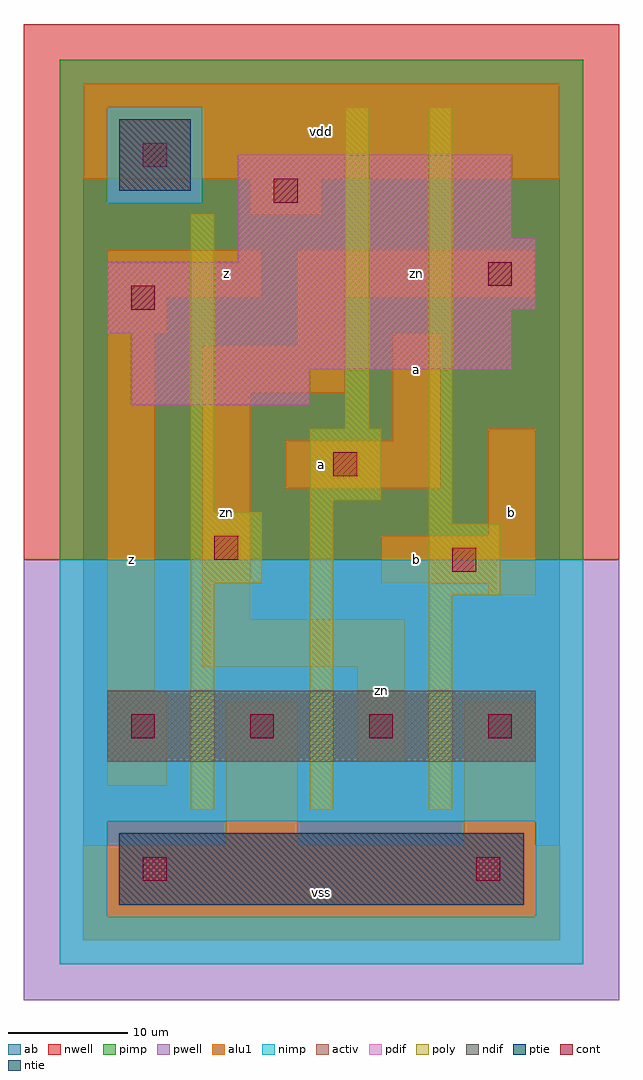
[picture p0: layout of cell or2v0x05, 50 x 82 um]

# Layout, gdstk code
import gdstk
lib = gdstk.Library(unit=1e-6, precision=1e-09)
def R(c, l, rs):  # rectangles x0, y0, x1, y1
    for r in rs: c.add(gdstk.rectangle(r[:2], r[2:], *l))
def A(c, l, x, y, w, h, nx, ny, dx, dy):  # array of equal rectangles
    R(c, l, [(x+i*dx, y+j*dy, x+i*dx+w, y+j*dy+h) for i in range(nx) for j in range(ny)])
ndif = (3, 0)
pdif = (4, 0)
ntie = (5, 0)
ptie = (6, 0)
cont = (25, 0)
pwell = (41, 0)
nwell = (42, 0)
activ = (43, 0)
pimp = (44, 0)
nimp = (45, 0)
poly = (46, 0)
alu1 = (49, 0)
ab = (63, 0)

or2v0x05 = lib.new_cell('or2v0x05')
R(or2v0x05, ndif, [(2,15,38,21)])
R(or2v0x05, pdif, [(4,45,19,48), (4,48,36,51), (2,51,36,53), (2,53,38,57), (13,57,38,59), (13,59,36,66)])
R(or2v0x05, ntie, [(3,63,9,69)])
R(or2v0x05, ptie, [(3,3,37,9)])
A(or2v0x05, cont, 4, 17, 2, 2, 4, 1, 10, 0)
R(or2v0x05, cont, [(5,5,7,7), (33,5,35,7), (31,31,33,33), (11,32,13,34), (21,39,23,41), (4,53,6,55), (34,55,36,57), (16,62,18,64), (5,65,7,67)])
R(or2v0x05, pwell, [(-5,-5,45,32)])
R(or2v0x05, nwell, [(-5,32,45,77)])
R(or2v0x05, activ, [(3,3,37,9), (2,15,38,21), (4,45,19,48), (4,48,36,51), (2,51,36,53), (2,53,38,57), (13,57,38,59), (13,59,36,66), (3,63,9,69)])
R(or2v0x05, pimp, [(2,2,38,10), (-2,32,42,62), (-2,62,2,70), (10,62,42,70), (-2,70,42,74)])
R(or2v0x05, nimp, [(-2,-2,42,2), (-2,2,2,10), (38,2,42,10), (-2,10,42,32), (2,62,10,70)])
R(or2v0x05, poly, [(9,11,11,30), (19,11,21,37), (29,11,31,29), (29,29,35,35), (9,30,15,36), (29,35,31,70), (9,36,11,61), (19,37,25,43), (22,43,24,70)])
R(or2v0x05, alu1, [(0,0,40,8), (12,8,18,20), (32,8,38,20), (2,13,7,21), (23,15,27,23), (2,21,6,51), (10,23,27,27), (10,27,14,46), (34,29,38,30), (25,30,38,34), (34,34,38,43), (17,38,30,42), (26,42,30,51), (10,46,22,50), (18,50,22,54), (2,51,7,54), (2,54,15,58), (18,54,38,58), (14,61,20,64), (0,64,40,72)])
R(or2v0x05, ab, [(0,0,40,72)])
or2v0x05.add(gdstk.Label('zn', (12,36), layer=49, texttype=0))
or2v0x05.add(gdstk.Label('zn', (25,21), layer=49, texttype=0))
or2v0x05.add(gdstk.Label('zn', (28,56), layer=49, texttype=0))
or2v0x05.add(gdstk.Label('z', (4,32), layer=49, texttype=0))
or2v0x05.add(gdstk.Label('z', (12,56), layer=49, texttype=0))
or2v0x05.add(gdstk.Label('vss', (20,4), layer=49, texttype=0))
or2v0x05.add(gdstk.Label('b', (28,32), layer=49, texttype=0))
or2v0x05.add(gdstk.Label('a', (20,40), layer=49, texttype=0))
or2v0x05.add(gdstk.Label('a', (28,48), layer=49, texttype=0))
or2v0x05.add(gdstk.Label('vdd', (20,68), layer=49, texttype=0))
or2v0x05.add(gdstk.Label('b', (36,36), layer=49, texttype=0))

lib.write_gds('or2v0x05.gds')
